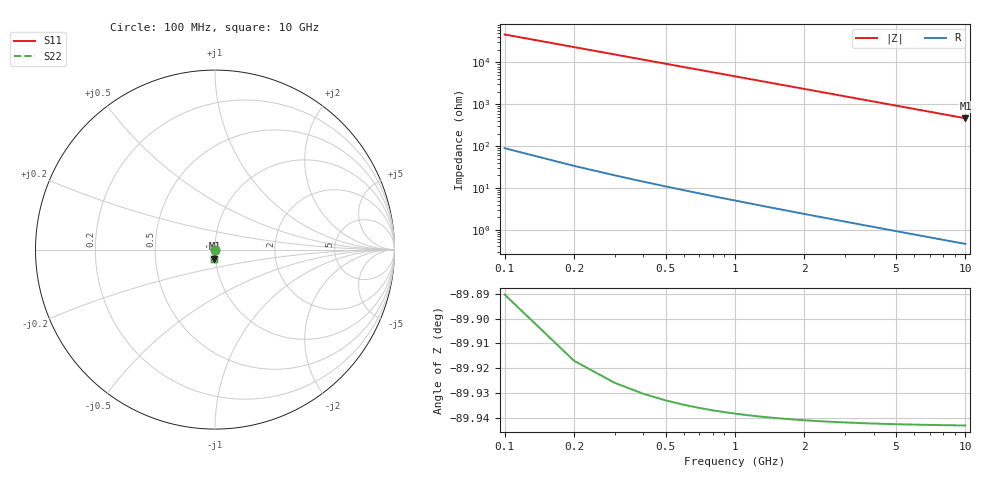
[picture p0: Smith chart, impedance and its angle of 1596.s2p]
# Hz S RI R 50.00
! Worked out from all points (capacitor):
!   100 points, 100 MHz to 10 GHz, reference 50 ohm
!   read as one part in shunt: C = 34.1 fF near 100 MHz
!   lowest |Z| = 464 ohm at 10 GHz (marker M1)
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1e8  1.34e-05 -0.000512  1 -0.00056  1 -0.00056  1.34e-05 -0.000512
2e8  1.21e-05 -0.00102  1 -0.00112  1 -0.00112  1.21e-05 -0.00102
3e8  1.02e-05 -0.00154  1 -0.00168  1 -0.00168  1.02e-05 -0.00154
4e8  7.71e-06 -0.00205  1 -0.00224  1 -0.00224  7.71e-06 -0.00205
5e8  4.65e-06 -0.00256  1 -0.0028  1 -0.0028  4.65e-06 -0.00256
6e8  1.01e-06 -0.00307  1 -0.00336  1 -0.00336  1.01e-06 -0.00307
7e8  -3.2e-06 -0.00359  1 -0.00392  1 -0.00392  -3.2e-06 -0.00359
8e8  -8e-06 -0.0041  1 -0.00448  1 -0.00448  -8e-06 -0.0041
9e8  -1.34e-05 -0.00461  1 -0.00504  1 -0.00504  -1.34e-05 -0.00461
1.1e9  -2.58e-05 -0.00564  0.9999 -0.00617  0.9999 -0.00617  -2.58e-05 -0.00564
1.4e9  -4.89e-05 -0.00717  0.9999 -0.00785  0.9999 -0.00785  -4.89e-05 -0.00717
1.8e9  -8.76e-05 -0.00922  0.9999 -0.0101  0.9999 -0.0101  -8.76e-05 -0.00922
2.1e9  -0.000123 -0.0108  0.9998 -0.0118  0.9998 -0.0118  -0.000123 -0.0108
2.5e9  -0.000178 -0.0128  0.9998 -0.014  0.9998 -0.014  -0.000178 -0.0128
2.9e9  -0.000242 -0.0149  0.9997 -0.0163  0.9997 -0.0163  -0.000242 -0.0149
3.4e9  -0.000335 -0.0174  0.9996 -0.0191  0.9996 -0.0191  -0.000335 -0.0174
4.2e9  -0.000514 -0.0215  0.9995 -0.0236  0.9995 -0.0236  -0.000514 -0.0215
5.1e9  -0.00076 -0.0262  0.9992 -0.0286  0.9992 -0.0286  -0.00076 -0.0262
5.9e9  -0.00102 -0.0303  0.9989 -0.0331  0.9989 -0.0331  -0.00102 -0.0303
6.7e9  -0.00131 -0.0344  0.9986 -0.0376  0.9986 -0.0376  -0.00131 -0.0344
8.4e9  -0.00207 -0.0431  0.9979 -0.0472  0.9979 -0.0472  -0.00207 -0.0431
1e10  -0.00293 -0.0513  0.997 -0.0562  0.997 -0.0562  -0.00293 -0.0513
